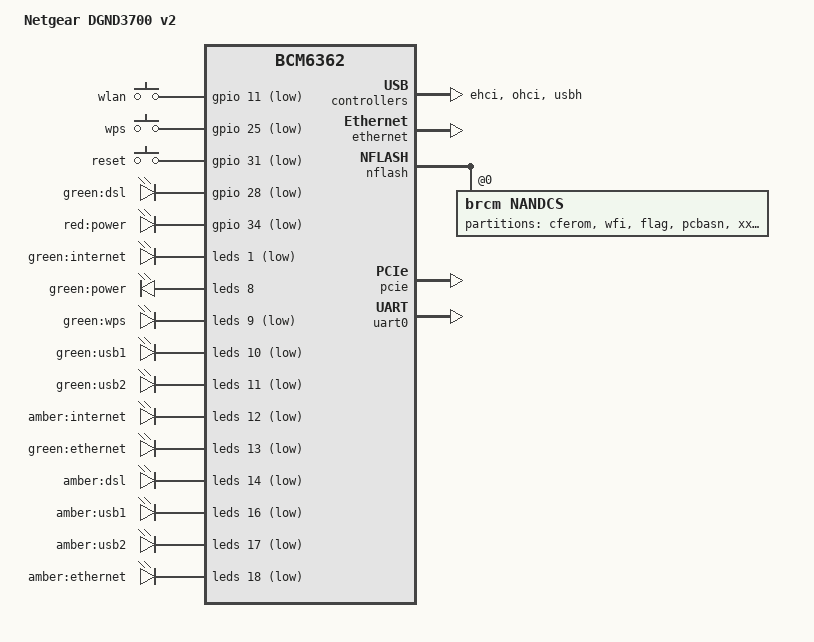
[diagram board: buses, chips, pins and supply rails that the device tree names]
// SPDX-License-Identifier: GPL-2.0-or-later

#include "bcm6362.dtsi"

/ {
	model = "Netgear DGND3700 v2";
	compatible = "netgear,dgnd3700-v2", "brcm,bcm6362";

	aliases {
		led-boot = &led_power_green;
		led-failsafe = &led_power_red;
		led-running = &led_power_green;
		led-upgrade = &led_power_green;

		led-dsl = &led_dsl_green;
		led-ethernet = &led_ethernet_green;
		led-internet = &led_internet_green;
		led-usb = &led_usb1_green;
		led-usb2 = &led_usb2_green;
	};

	keys {
		compatible = "gpio-keys-polled";
		poll-interval = <20>;

		wlan {
			label = "wlan";
			gpios = <&gpio 11 GPIO_ACTIVE_LOW>;
			linux,code = <KEY_WLAN>;
			debounce-interval = <60>;
		};

		wps {
			label = "wps";
			gpios = <&gpio 25 GPIO_ACTIVE_LOW>;
			linux,code = <KEY_WPS_BUTTON>;
			debounce-interval = <60>;
		};

		reset {
			label = "reset";
			gpios = <&gpio 31 GPIO_ACTIVE_LOW>;
			linux,code = <KEY_RESTART>;
			debounce-interval = <60>;
		};
	};

	leds {
		compatible = "gpio-leds";

		led_dsl_green: led@28 {
			label = "green:dsl";
			gpios = <&gpio 28 GPIO_ACTIVE_LOW>;
		};

		led_power_red: led@34 {
			label = "red:power";
			gpios = <&gpio 34 GPIO_ACTIVE_LOW>;
		};
	};
};

&ehci {
	status = "okay";
};

&ethernet {
	status = "okay";

	mtd-mac-address = <&cferom 0x6a0>;
};

&leds {
	status = "okay";

	brcm,serial-leds;
	brcm,serial-dat-low;
	brcm,serial-shift-inv;
	brcm,serial-mux;

	pinctrl-names = "default";
	pinctrl-0 = <&pinctrl_leds &pinctrl_serial_led>;

	led_internet_green: led@1 {
		reg = <1>;
		active-low;
		label = "green:internet";
	};

	led_power_green: led@8 {
		reg = <8>;
		label = "green:power";
	};

	led@9 {
		reg = <9>;
		active-low;
		label = "green:wps";
	};

	led_usb1_green: led@10 {
		reg = <10>;
		active-low;
		label = "green:usb1";
	};

	led_usb2_green: led@11 {
		reg = <11>;
		active-low;
		label = "green:usb2";
	};

	led@12 {
		reg = <12>;
		active-low;
		label = "amber:internet";
	};

	led_ethernet_green: led@13 {
		reg = <13>;
		active-low;
		label = "green:ethernet";
	};

	led@14 {
		reg = <14>;
		active-low;
		label = "amber:dsl";
	};

	led@16 {
		reg = <16>;
		active-low;
		label = "amber:usb1";
	};

	led@17 {
		reg = <17>;
		active-low;
		label = "amber:usb2";
	};

	led@18 {
		reg = <18>;
		active-low;
		label = "amber:ethernet";
	};
};

&nflash {
	status = "okay";

	nandcs@0 {
		compatible = "brcm,nandcs";
		reg = <0>;
		nand-ecc-step-size = <512>;
		nand-ecc-strength = <15>;
		nand-on-flash-bbt;

		partitions {
			compatible = "fixed-partitions";
			#address-cells = <1>;
			#size-cells = <1>;

			cferom: partition@0 {
				label = "cferom";
				reg = <0x0000000 0x0004000>;
				read-only;
			};

			partition@4000 {
				compatible = "brcm,wfi";
				label = "wfi";
				reg = <0x0004000 0x1c7c000>;
			};

			partition@1c80000 {
				label = "flag";
				reg = <0x1c80000 0x0040000>;
				read-only;
			};

			partition@1cc0000 {
				label = "pcbasn";
				reg = <0x1cc0000 0x0040000>;
				read-only;
			};

			partition@1d00000 {
				label = "xxx";
				reg = <0x1d00000 0x0080000>;
				read-only;
			};

			partition@1d80000 {
				label = "language_dev";
				reg = <0x1d80000 0x0040000>;
				read-only;
			};

			partition@1dc0000 {
				label = "scnvram";
				reg = <0x1dc0000 0x0100000>;
				read-only;
			};
		};
	};
};

&ohci {
	status = "okay";
};

&pcie {
	status = "okay";
};

&pinctrl {
	pinctrl_leds: leds {
		function = "led";
		pins = "gpio1";
	};
};

&switch0 {
	ports {
		port@4 {
			reg = <4>;
			label = "extsw";

			phy-mode = "rgmii";

			fixed-link {
				speed = <1000>;
				full-duplex;
			};
		};
	};
};

&uart0 {
	status = "okay";
};

&usbh {
	status = "okay";
};
